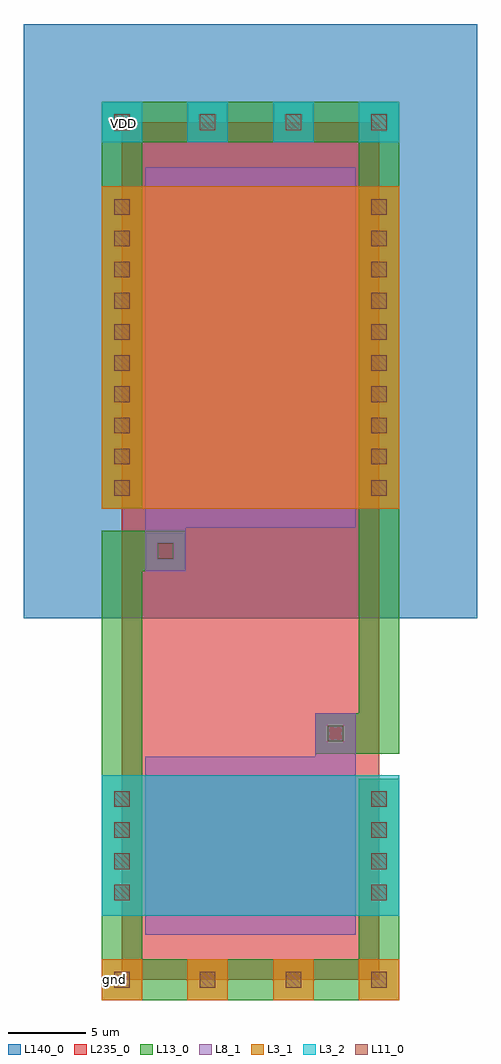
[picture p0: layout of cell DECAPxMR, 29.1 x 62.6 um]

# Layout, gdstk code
import gdstk
lib = gdstk.Library(unit=1e-6, precision=1e-09)
def R(c, l, rs):  # rectangles x0, y0, x1, y1
    for r in rs: c.add(gdstk.rectangle(r[:2], r[2:], *l))
def A(c, l, x, y, w, h, nx, ny, dx, dy):  # array of equal rectangles
    R(c, l, [(x+i*dx, y+j*dy, x+i*dx+w, y+j*dy+h) for i in range(nx) for j in range(ny)])
L3_1 = (3, 1)
L3_2 = (3, 2)
L8_1 = (8, 1)
L11_0 = (11, 0)
L13_0 = (13, 0)
L140_0 = (140, 0)
L235_0 = (235, 0)

cont_n_10 = lib.new_cell('cont_n$10')
R(cont_n_10, L3_2, [(-1.3,-1.3,1.3,1.3)])
R(cont_n_10, L11_0, [(-0.5,-0.5,0.5,0.5)])
R(cont_n_10, L13_0, [(-1.3,-1.3,1.3,1.3)])

cont_p_10 = lib.new_cell('cont_p$10')
R(cont_p_10, L3_1, [(-1.3,-1.3,1.3,1.3)])
R(cont_p_10, L11_0, [(-0.5,-0.5,0.5,0.5)])
R(cont_p_10, L13_0, [(-1.3,-1.3,1.3,1.3)])

cont_g_9 = lib.new_cell('cont_g$9')
R(cont_g_9, L8_1, [(-1.3,-1.3,1.3,1.3)])
R(cont_g_9, L11_0, [(-0.5,-0.5,0.5,0.5)])
R(cont_g_9, L13_0, [(-1.3,-1.3,1.3,1.3)])

fet_n_1_6 = lib.new_cell('fet_n$1$6')
R(fet_n_1_6, L3_2, [(-9.55,-4.5,9.55,4.5)])
A(fet_n_1_6, L11_0, -8.75, -3.5, 1, 1, 1, 4, 0, 2)
A(fet_n_1_6, L11_0, 7.75, -3.5, 1, 1, 1, 4, 0, 2)
R(fet_n_1_6, L13_0, [(-9.55,-4.3,-6.95,4.3), (6.95,-4.3,9.55,4.3)])
fet_n_1_6.add(gdstk.FlexPath([(0,-5.7),(0,5.7)], 13.5, ends="flush", simple_path=True, layer=8, datatype=1))  # L8_1

fet_p_6 = lib.new_cell('fet_p$6')
R(fet_p_6, L3_1, [(-9.55,-10.35,9.55,10.35)])
A(fet_p_6, L11_0, -8.75, -9.5, 1, 1, 1, 10, 0, 2)
A(fet_p_6, L11_0, 7.75, -9.5, 1, 1, 1, 10, 0, 2)
R(fet_p_6, L13_0, [(-9.55,-10.3,-6.95,10.3), (6.95,-10.3,9.55,10.3)])
fet_p_6.add(gdstk.FlexPath([(0,-11.55),(0,11.55)], 13.5, ends="flush", simple_path=True, layer=8, datatype=1))  # L8_1

decapxmr = lib.new_cell('DECAPxMR')
R(decapxmr, L8_1, [(12.9,14.3,15.5,14.5), (2,28.8,4.6,29)])
R(decapxmr, L140_0, [(-5.8,23.2,23.3,61.3)])
R(decapxmr, L235_0, [(0.5,0,17,55)])
decapxmr.add(gdstk.FlexPath([(3.3,27.5),(0.5,27.5),(0.5,11.5)], 2.6, ends="extended", simple_path=True, layer=13, datatype=0))  # L13_0
decapxmr.add(gdstk.FlexPath([(14.2,15.8),(17,15.8),(17,31.6)], 2.6, ends="extended", simple_path=True, layer=13, datatype=0))  # L13_0
decapxmr.add(gdstk.FlexPath([(17,5.6),(17,0)], 2.6, ends="extended", simple_path=True, layer=13, datatype=0))  # L13_0
decapxmr.add(gdstk.FlexPath([(0.5,49.547),(0.5,54.997)], 2.6, ends="extended", simple_path=True, layer=13, datatype=0))  # L13_0
decapxmr.add(gdstk.FlexPath([(0.5,5.6),(0.5,0)], 2.6, ends="extended", simple_path=True, layer=13, datatype=0))  # L13_0
decapxmr.add(gdstk.FlexPath([(17,49.55),(17,55)], 2.6, ends="extended", simple_path=True, layer=13, datatype=0))  # L13_0
decapxmr.add(gdstk.FlexPath([(0.5,55),(17,55)], 2.6, ends="extended", simple_path=True, layer=13, datatype=0))  # L13_0
decapxmr.add(gdstk.FlexPath([(0.5,0),(17,0)], 2.6, ends="extended", simple_path=True, layer=13, datatype=0))  # L13_0
decapxmr.add(gdstk.Reference(cont_n_10, (0.5,55)))
decapxmr.add(gdstk.Reference(cont_n_10, (6,55)))
decapxmr.add(gdstk.Reference(cont_n_10, (11.5,55)))
decapxmr.add(gdstk.Reference(cont_n_10, (17,55)))
decapxmr.add(gdstk.Reference(cont_p_10, (0.5,0)))
decapxmr.add(gdstk.Reference(cont_p_10, (6,0)))
decapxmr.add(gdstk.Reference(cont_p_10, (11.5,0)))
decapxmr.add(gdstk.Reference(cont_p_10, (17,0)))
decapxmr.add(gdstk.Reference(cont_g_9, (14.2,15.8)))
decapxmr.add(gdstk.Reference(cont_g_9, (3.3,27.5)))
decapxmr.add(gdstk.Reference(fet_n_1_6, (8.75,8.6)))
decapxmr.add(gdstk.Reference(fet_p_6, (8.75,40.55)))
decapxmr.add(gdstk.Label('VDD', (0.6,54.9), layer=48, texttype=0))
decapxmr.add(gdstk.Label('gnd', (0,0), layer=48, texttype=0))

lib.write_gds('DECAPxMR.gds')
